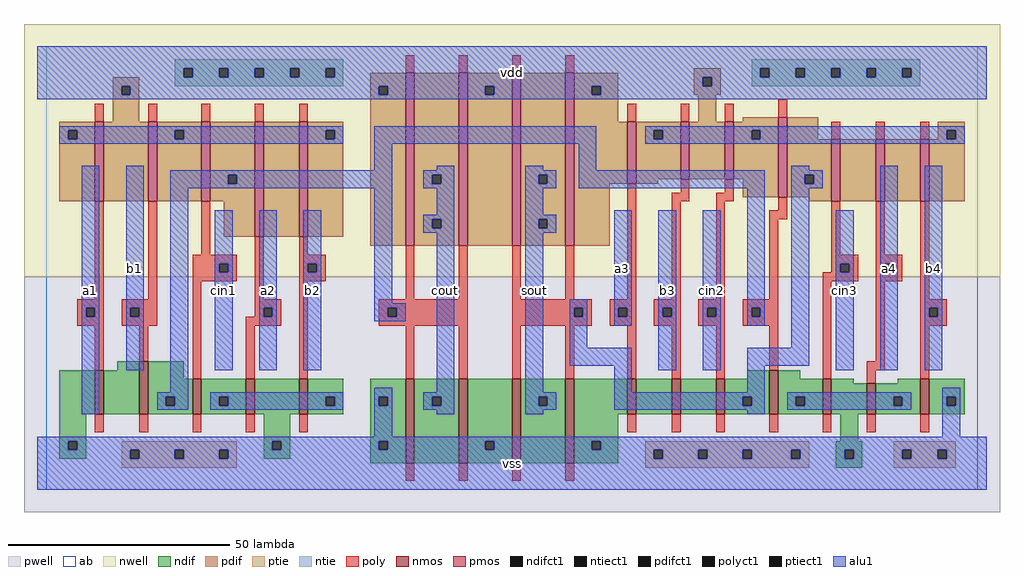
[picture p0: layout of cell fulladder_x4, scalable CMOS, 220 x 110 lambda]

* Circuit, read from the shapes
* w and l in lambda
.subckt fulladder_x4 a1 a2 a3 a4 b1 b2 b3 b4 cin1 cin2 cin3 cout sout vdd vss
M1 n1 a1 vss vss nfet w=10 l=2
M2 n2 b1 n1 vss nfet w=12 l=2
M3 n3 cin1 n2 vss nfet w=8 l=2
M4 vss a2 n3 vss nfet w=8 l=2
M5 n3 b2 vss vss nfet w=8 l=2
M6 cout n2 vss vss nfet w=19 l=2 m=2
M7 sout n4 vss vss nfet w=19 l=2 m=2
M8 n5 a3 vss vss nfet w=8 l=2
M9 n6 b3 n5 vss nfet w=8 l=2
M10 n4 cin2 n6 vss nfet w=8 l=2
M11 n7 n2 n4 vss nfet w=10 l=2
M12 vss cin3 n7 vss nfet w=8 l=2
M13 n7 a4 vss vss nfet w=7 l=2
M14 vss b4 n7 vss nfet w=8 l=2
M15 vdd a1 n8 vdd pfet w=18 l=2
M16 n8 b1 vdd vdd pfet w=18 l=2
M17 n2 cin1 n8 vdd pfet w=18 l=2
M18 n9 a2 n2 vdd pfet w=26 l=2
M19 n8 b2 n9 vdd pfet w=26 l=2
M20 cout n2 vdd vdd pfet w=39 l=2 m=2
M21 sout n4 vdd vdd pfet w=39 l=2 m=2
M22 n10 a3 vdd vdd pfet w=14 l=2
M23 vdd b3 n10 vdd pfet w=13 l=2
M24 n10 cin2 vdd vdd pfet w=13 l=2
M25 n4 n2 n10 vdd pfet w=18 l=2
M26 n11 cin3 n4 vdd pfet w=14 l=2
M27 n12 a4 n11 vdd pfet w=14 l=2
M28 n10 b4 n12 vdd pfet w=14 l=2
.ends

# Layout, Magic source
magic
tech scmos
<< ab >>
rect 0 0 210 100
<< nwell >>
rect -5 48 215 105
<< pwell >>
rect -5 -5 215 48
<< poly >>
rect 81 94 83 98
rect 93 94 95 98
rect 105 94 107 98
rect 117 94 119 98
rect 11 83 13 87
rect 23 83 25 87
rect 35 83 37 87
rect 47 83 49 87
rect 57 83 59 87
rect 11 43 13 65
rect 23 43 25 65
rect 35 53 37 65
rect 7 41 13 43
rect 7 39 9 41
rect 11 39 13 41
rect 7 37 13 39
rect 17 41 25 43
rect 17 39 19 41
rect 21 39 25 41
rect 17 37 25 39
rect 33 51 43 53
rect 33 49 39 51
rect 41 49 43 51
rect 33 47 43 49
rect 11 27 13 37
rect 21 29 23 37
rect 33 25 35 47
rect 47 43 49 57
rect 57 53 59 57
rect 131 83 133 87
rect 143 83 145 87
rect 153 83 155 87
rect 165 84 167 88
rect 57 51 63 53
rect 57 49 59 51
rect 61 49 63 51
rect 57 47 63 49
rect 47 41 53 43
rect 47 39 49 41
rect 51 39 53 41
rect 45 37 53 39
rect 45 25 47 37
rect 57 25 59 47
rect 81 43 83 55
rect 93 43 95 55
rect 75 41 95 43
rect 75 39 77 41
rect 79 39 95 41
rect 75 37 95 39
rect 81 25 83 37
rect 93 25 95 37
rect 105 43 107 55
rect 117 43 119 55
rect 131 43 133 69
rect 143 67 145 70
rect 153 67 155 70
rect 141 65 145 67
rect 151 65 155 67
rect 177 79 179 83
rect 187 79 189 83
rect 197 79 199 83
rect 141 43 143 65
rect 151 43 153 65
rect 165 63 167 66
rect 163 61 167 63
rect 163 43 165 61
rect 177 53 179 65
rect 187 53 189 65
rect 177 51 183 53
rect 177 49 179 51
rect 181 49 183 51
rect 105 41 123 43
rect 105 39 119 41
rect 121 39 123 41
rect 105 37 123 39
rect 127 41 133 43
rect 127 39 129 41
rect 131 39 133 41
rect 127 37 133 39
rect 137 41 143 43
rect 137 39 139 41
rect 141 39 143 41
rect 137 37 143 39
rect 147 41 153 43
rect 147 39 149 41
rect 151 39 153 41
rect 147 37 153 39
rect 157 41 165 43
rect 157 39 159 41
rect 161 39 165 41
rect 157 37 165 39
rect 105 25 107 37
rect 117 25 119 37
rect 131 25 133 37
rect 141 25 143 37
rect 151 25 153 37
rect 163 27 165 37
rect 175 47 183 49
rect 187 51 193 53
rect 187 49 189 51
rect 191 49 193 51
rect 187 47 193 49
rect 11 13 13 17
rect 21 13 23 17
rect 33 13 35 17
rect 45 13 47 17
rect 57 13 59 17
rect 175 25 177 47
rect 187 29 189 47
rect 185 27 189 29
rect 197 43 199 65
rect 197 41 203 43
rect 197 39 199 41
rect 201 39 203 41
rect 197 37 203 39
rect 185 24 187 27
rect 197 25 199 37
rect 131 13 133 17
rect 141 13 143 17
rect 151 13 153 17
rect 163 13 165 17
rect 175 13 177 17
rect 185 13 187 17
rect 197 13 199 17
rect 81 2 83 6
rect 93 2 95 6
rect 105 2 107 6
rect 117 2 119 6
<< ndif >>
rect 16 27 21 29
rect 3 17 11 27
rect 13 17 21 27
rect 23 25 31 29
rect 158 25 163 27
rect 23 21 33 25
rect 23 19 27 21
rect 29 19 33 21
rect 23 17 33 19
rect 35 21 45 25
rect 35 19 39 21
rect 41 19 45 21
rect 35 17 45 19
rect 47 17 57 25
rect 59 21 67 25
rect 59 19 63 21
rect 65 19 67 21
rect 59 17 67 19
rect 73 21 81 25
rect 73 19 75 21
rect 77 19 81 21
rect 3 11 9 17
rect 49 11 55 17
rect 3 9 5 11
rect 7 9 9 11
rect 3 7 9 9
rect 49 9 51 11
rect 53 9 55 11
rect 49 7 55 9
rect 73 11 81 19
rect 73 9 75 11
rect 77 9 81 11
rect 73 6 81 9
rect 83 21 93 25
rect 83 19 87 21
rect 89 19 93 21
rect 83 6 93 19
rect 95 11 105 25
rect 95 9 99 11
rect 101 9 105 11
rect 95 6 105 9
rect 107 21 117 25
rect 107 19 111 21
rect 113 19 117 21
rect 107 6 117 19
rect 119 17 131 25
rect 133 17 141 25
rect 143 17 151 25
rect 153 21 163 25
rect 153 19 157 21
rect 159 19 163 21
rect 153 17 163 19
rect 165 25 170 27
rect 165 21 175 25
rect 165 19 169 21
rect 171 19 175 21
rect 165 17 175 19
rect 177 24 182 25
rect 192 24 197 25
rect 177 17 185 24
rect 187 21 197 24
rect 187 19 191 21
rect 193 19 197 21
rect 187 17 197 19
rect 199 21 207 25
rect 199 19 203 21
rect 205 19 207 21
rect 199 17 207 19
rect 119 11 129 17
rect 179 11 183 17
rect 119 9 123 11
rect 125 9 129 11
rect 119 6 129 9
rect 178 9 184 11
rect 178 7 180 9
rect 182 7 184 9
rect 178 5 184 7
<< pdif >>
rect 15 91 21 93
rect 73 91 81 94
rect 15 89 17 91
rect 19 89 21 91
rect 15 83 21 89
rect 73 89 75 91
rect 77 89 81 91
rect 3 81 11 83
rect 3 79 5 81
rect 7 79 11 81
rect 3 65 11 79
rect 13 65 23 83
rect 25 81 35 83
rect 25 79 29 81
rect 31 79 35 81
rect 25 65 35 79
rect 37 71 47 83
rect 37 69 41 71
rect 43 69 47 71
rect 37 65 47 69
rect 40 57 47 65
rect 49 57 57 83
rect 59 81 67 83
rect 59 79 63 81
rect 65 79 67 81
rect 59 57 67 79
rect 73 55 81 89
rect 83 71 93 94
rect 83 69 87 71
rect 89 69 93 71
rect 83 61 93 69
rect 83 59 87 61
rect 89 59 93 61
rect 83 55 93 59
rect 95 91 105 94
rect 95 89 99 91
rect 101 89 105 91
rect 95 55 105 89
rect 107 71 117 94
rect 107 69 111 71
rect 113 69 117 71
rect 107 61 117 69
rect 107 59 111 61
rect 113 59 117 61
rect 107 55 117 59
rect 119 91 129 94
rect 119 89 123 91
rect 125 89 129 91
rect 146 93 152 95
rect 146 91 148 93
rect 150 91 152 93
rect 146 89 152 91
rect 119 83 129 89
rect 147 83 151 89
rect 157 83 165 84
rect 119 69 131 83
rect 133 81 143 83
rect 133 79 137 81
rect 139 79 143 81
rect 133 70 143 79
rect 145 70 153 83
rect 155 81 165 83
rect 155 79 159 81
rect 161 79 165 81
rect 155 70 165 79
rect 133 69 138 70
rect 119 55 127 69
rect 157 66 165 70
rect 167 79 174 84
rect 201 81 207 83
rect 201 79 203 81
rect 205 79 207 81
rect 167 71 177 79
rect 167 69 171 71
rect 173 69 177 71
rect 167 66 177 69
rect 172 65 177 66
rect 179 65 187 79
rect 189 65 197 79
rect 199 65 207 79
<< alu1 >>
rect -2 95 212 100
rect -2 93 31 95
rect 33 93 39 95
rect 41 93 47 95
rect 49 93 55 95
rect 57 93 63 95
rect 65 93 161 95
rect 163 93 169 95
rect 171 93 177 95
rect 179 93 185 95
rect 187 93 193 95
rect 195 93 212 95
rect -2 91 148 93
rect 150 91 212 93
rect -2 89 17 91
rect 19 89 75 91
rect 77 89 99 91
rect 101 89 123 91
rect 125 89 212 91
rect -2 88 212 89
rect 3 81 67 82
rect 3 79 5 81
rect 7 79 29 81
rect 31 79 63 81
rect 65 79 67 81
rect 3 78 67 79
rect 74 78 124 82
rect 135 81 207 82
rect 135 79 137 81
rect 139 79 159 81
rect 161 79 203 81
rect 205 79 207 81
rect 135 78 207 79
rect 8 41 12 73
rect 8 39 9 41
rect 11 39 12 41
rect 8 17 12 39
rect 18 41 22 73
rect 74 72 78 78
rect 88 72 92 73
rect 18 39 19 41
rect 21 39 22 41
rect 18 27 22 39
rect 28 71 78 72
rect 28 69 41 71
rect 43 69 78 71
rect 28 68 78 69
rect 85 71 92 72
rect 85 69 87 71
rect 89 69 92 71
rect 85 68 92 69
rect 28 22 32 68
rect 38 51 42 63
rect 38 49 39 51
rect 41 49 42 51
rect 38 27 42 49
rect 48 41 52 63
rect 48 39 49 41
rect 51 39 52 41
rect 48 27 52 39
rect 58 51 62 63
rect 58 49 59 51
rect 61 49 62 51
rect 58 27 62 49
rect 74 42 78 68
rect 88 62 92 68
rect 85 61 92 62
rect 85 59 87 61
rect 89 59 92 61
rect 85 58 92 59
rect 74 41 81 42
rect 74 39 77 41
rect 79 39 81 41
rect 74 38 81 39
rect 25 21 32 22
rect 25 19 27 21
rect 29 19 32 21
rect 25 18 32 19
rect 37 21 67 22
rect 37 19 39 21
rect 41 19 63 21
rect 65 19 67 21
rect 37 18 67 19
rect 74 21 78 23
rect 88 22 92 58
rect 74 19 75 21
rect 77 19 78 21
rect 74 12 78 19
rect 85 21 92 22
rect 85 19 87 21
rect 89 19 92 21
rect 85 18 92 19
rect 88 17 92 18
rect 108 72 112 73
rect 120 72 124 78
rect 168 72 172 73
rect 108 71 115 72
rect 108 69 111 71
rect 113 69 115 71
rect 108 68 115 69
rect 120 68 162 72
rect 108 62 112 68
rect 108 61 115 62
rect 108 59 111 61
rect 113 59 115 61
rect 108 58 115 59
rect 108 22 112 58
rect 118 41 122 43
rect 118 39 119 41
rect 121 39 122 41
rect 118 32 122 39
rect 128 41 132 63
rect 128 39 129 41
rect 131 39 132 41
rect 128 37 132 39
rect 138 41 142 63
rect 138 39 139 41
rect 141 39 142 41
rect 118 28 132 32
rect 128 22 132 28
rect 138 27 142 39
rect 148 41 152 63
rect 148 39 149 41
rect 151 39 152 41
rect 148 27 152 39
rect 158 41 162 68
rect 158 39 159 41
rect 161 39 162 41
rect 158 37 162 39
rect 168 71 175 72
rect 168 69 171 71
rect 173 69 175 71
rect 168 68 175 69
rect 168 32 172 68
rect 158 28 172 32
rect 178 51 182 63
rect 178 49 179 51
rect 181 49 182 51
rect 158 22 162 28
rect 178 27 182 49
rect 188 51 192 73
rect 188 49 189 51
rect 191 49 192 51
rect 188 27 192 49
rect 198 41 202 73
rect 198 39 199 41
rect 201 39 202 41
rect 198 27 202 39
rect 108 21 115 22
rect 108 19 111 21
rect 113 19 115 21
rect 108 18 115 19
rect 128 21 162 22
rect 128 19 157 21
rect 159 19 162 21
rect 128 18 162 19
rect 167 21 195 22
rect 167 19 169 21
rect 171 19 191 21
rect 193 19 195 21
rect 167 18 195 19
rect 202 21 206 23
rect 202 19 203 21
rect 205 19 206 21
rect 108 17 112 18
rect 158 17 162 18
rect 202 12 206 19
rect -2 11 212 12
rect -2 9 5 11
rect 7 9 51 11
rect 53 9 75 11
rect 77 9 99 11
rect 101 9 123 11
rect 125 9 212 11
rect -2 7 19 9
rect 21 7 29 9
rect 31 7 39 9
rect 41 7 137 9
rect 139 7 147 9
rect 149 7 157 9
rect 159 7 168 9
rect 170 7 180 9
rect 182 7 193 9
rect 195 7 201 9
rect 203 7 212 9
rect -2 0 212 7
<< ptie >>
rect 17 9 43 11
rect 17 7 19 9
rect 21 7 29 9
rect 31 7 39 9
rect 41 7 43 9
rect 17 5 43 7
rect 135 9 172 11
rect 135 7 137 9
rect 139 7 147 9
rect 149 7 157 9
rect 159 7 168 9
rect 170 7 172 9
rect 135 5 172 7
rect 191 9 205 11
rect 191 7 193 9
rect 195 7 201 9
rect 203 7 205 9
rect 191 5 205 7
<< ntie >>
rect 29 95 67 97
rect 29 93 31 95
rect 33 93 39 95
rect 41 93 47 95
rect 49 93 55 95
rect 57 93 63 95
rect 65 93 67 95
rect 159 95 197 97
rect 29 91 67 93
rect 159 93 161 95
rect 163 93 169 95
rect 171 93 177 95
rect 179 93 185 95
rect 187 93 193 95
rect 195 93 197 95
rect 159 91 197 93
<< nmos >>
rect 11 17 13 27
rect 21 17 23 29
rect 33 17 35 25
rect 45 17 47 25
rect 57 17 59 25
rect 81 6 83 25
rect 93 6 95 25
rect 105 6 107 25
rect 117 6 119 25
rect 131 17 133 25
rect 141 17 143 25
rect 151 17 153 25
rect 163 17 165 27
rect 175 17 177 25
rect 185 17 187 24
rect 197 17 199 25
<< pmos >>
rect 11 65 13 83
rect 23 65 25 83
rect 35 65 37 83
rect 47 57 49 83
rect 57 57 59 83
rect 81 55 83 94
rect 93 55 95 94
rect 105 55 107 94
rect 117 55 119 94
rect 131 69 133 83
rect 143 70 145 83
rect 153 70 155 83
rect 165 66 167 84
rect 177 65 179 79
rect 187 65 189 79
rect 197 65 199 79
<< polyct1 >>
rect 9 39 11 41
rect 19 39 21 41
rect 39 49 41 51
rect 59 49 61 51
rect 49 39 51 41
rect 77 39 79 41
rect 179 49 181 51
rect 119 39 121 41
rect 129 39 131 41
rect 139 39 141 41
rect 149 39 151 41
rect 159 39 161 41
rect 189 49 191 51
rect 199 39 201 41
<< ndifct1 >>
rect 27 19 29 21
rect 39 19 41 21
rect 63 19 65 21
rect 75 19 77 21
rect 5 9 7 11
rect 51 9 53 11
rect 75 9 77 11
rect 87 19 89 21
rect 99 9 101 11
rect 111 19 113 21
rect 157 19 159 21
rect 169 19 171 21
rect 191 19 193 21
rect 203 19 205 21
rect 123 9 125 11
rect 180 7 182 9
<< ntiect1 >>
rect 31 93 33 95
rect 39 93 41 95
rect 47 93 49 95
rect 55 93 57 95
rect 63 93 65 95
rect 161 93 163 95
rect 169 93 171 95
rect 177 93 179 95
rect 185 93 187 95
rect 193 93 195 95
<< ptiect1 >>
rect 19 7 21 9
rect 29 7 31 9
rect 39 7 41 9
rect 137 7 139 9
rect 147 7 149 9
rect 157 7 159 9
rect 168 7 170 9
rect 193 7 195 9
rect 201 7 203 9
<< pdifct1 >>
rect 17 89 19 91
rect 75 89 77 91
rect 5 79 7 81
rect 29 79 31 81
rect 41 69 43 71
rect 63 79 65 81
rect 87 69 89 71
rect 87 59 89 61
rect 99 89 101 91
rect 111 69 113 71
rect 111 59 113 61
rect 123 89 125 91
rect 148 91 150 93
rect 137 79 139 81
rect 159 79 161 81
rect 203 79 205 81
rect 171 69 173 71
<< labels >>
rlabel alu1 20 50 20 50 6 b1
rlabel alu1 10 45 10 45 6 a1
rlabel alu1 40 45 40 45 6 cin1
rlabel alu1 50 45 50 45 6 a2
rlabel alu1 60 45 60 45 6 b2
rlabel alu1 105 6 105 6 6 vss
rlabel alu1 90 45 90 45 6 cout
rlabel alu1 110 45 110 45 6 sout
rlabel alu1 105 94 105 94 6 vdd
rlabel alu1 130 50 130 50 6 a3
rlabel alu1 140 45 140 45 6 b3
rlabel alu1 150 45 150 45 6 cin2
rlabel alu1 200 50 200 50 6 b4
rlabel polyct1 190 50 190 50 6 a4
rlabel alu1 180 45 180 45 6 cin3
<< end >>
